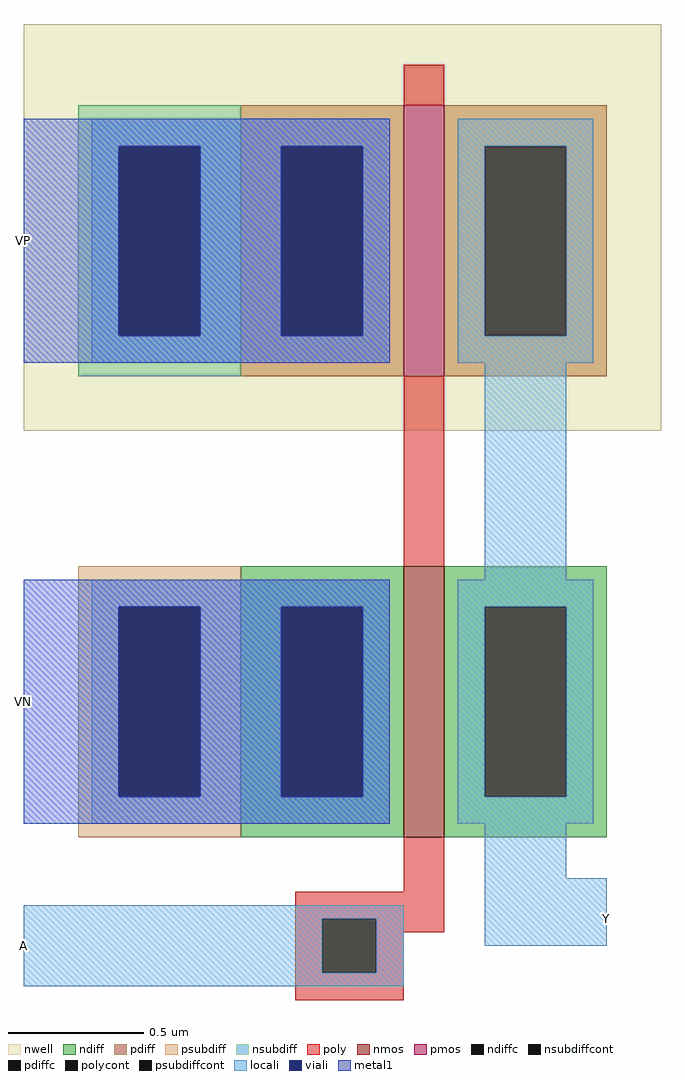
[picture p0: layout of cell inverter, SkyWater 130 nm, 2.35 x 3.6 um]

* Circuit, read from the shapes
.subckt inverter VP VN A Y
XM1 Y A VN VN sky130_fd_pr__nfet_01v8 w=1 l=0.15
XM2 Y A VP VP sky130_fd_pr__pfet_01v8 w=1 l=0.15
.ends

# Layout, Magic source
magic
tech sky130A
<< nwell >>
rect -155 145 80 295
<< nmos >>
rect -15 -5 0 95
<< pmos >>
rect -15 165 0 265
<< ndiff >>
rect -75 80 -15 95
rect -75 10 -60 80
rect -30 10 -15 80
rect -75 -5 -15 10
rect 0 80 60 95
rect 0 10 15 80
rect 45 10 60 80
rect 0 -5 60 10
<< pdiff >>
rect -75 250 -15 265
rect -75 180 -60 250
rect -30 180 -15 250
rect -75 165 -15 180
rect 0 250 60 265
rect 0 180 15 250
rect 45 180 60 250
rect 0 165 60 180
<< ndiffc >>
rect -60 10 -30 80
rect 15 10 45 80
<< pdiffc >>
rect -60 180 -30 250
rect 15 180 45 250
<< psubdiff >>
rect -135 80 -75 95
rect -135 10 -120 80
rect -90 10 -75 80
rect -135 -5 -75 10
<< nsubdiff >>
rect -135 250 -75 265
rect -135 180 -120 250
rect -90 180 -75 250
rect -135 165 -75 180
<< psubdiffcont >>
rect -120 10 -90 80
<< nsubdiffcont >>
rect -120 180 -90 250
<< poly >>
rect -15 265 0 280
rect -15 95 0 165
rect -15 -25 0 -5
rect -55 -35 0 -25
rect -55 -55 -45 -35
rect -25 -40 0 -35
rect -25 -55 -15 -40
rect -55 -65 -15 -55
<< polycont >>
rect -45 -55 -25 -35
<< locali >>
rect -130 250 -20 260
rect -130 180 -120 250
rect -90 180 -60 250
rect -30 180 -20 250
rect -130 170 -20 180
rect 5 250 55 260
rect 5 180 15 250
rect 45 180 55 250
rect 5 170 55 180
rect 15 90 45 170
rect -130 80 -20 90
rect -130 10 -120 80
rect -90 10 -60 80
rect -30 10 -20 80
rect -130 0 -20 10
rect 5 80 55 90
rect 5 10 15 80
rect 45 10 55 80
rect 5 0 55 10
rect 15 -20 45 0
rect -155 -35 -15 -30
rect -155 -55 -45 -35
rect -25 -55 -15 -35
rect 15 -45 60 -20
rect -155 -60 -15 -55
<< viali >>
rect -120 180 -90 250
rect -60 180 -30 250
rect -120 10 -90 80
rect -60 10 -30 80
<< metal1 >>
rect -155 250 -20 260
rect -155 180 -120 250
rect -90 180 -60 250
rect -30 180 -20 250
rect -155 170 -20 180
rect -155 80 -20 90
rect -155 10 -120 80
rect -90 10 -60 80
rect -30 10 -20 80
rect -155 0 -20 10
<< labels >>
rlabel metal1 -155 215 -155 215 7 VP
port 1 w
rlabel metal1 -155 45 -155 45 7 VN
port 2 w
rlabel locali -155 -45 -155 -45 7 A
port 3 w
rlabel locali 60 -35 60 -35 3 Y
port 4 e
<< end >>
